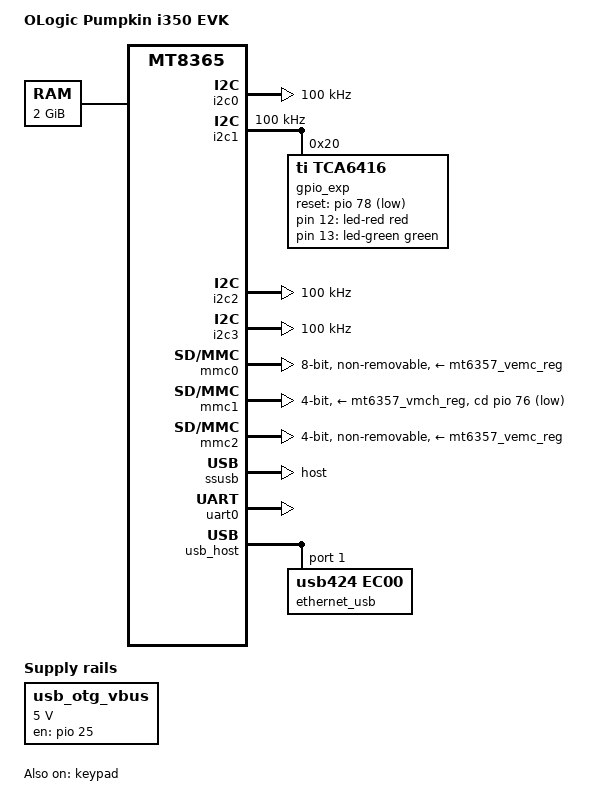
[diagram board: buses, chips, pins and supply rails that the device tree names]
// SPDX-License-Identifier: GPL-2.0
/*
 * Copyright (c) 2021 BayLibre, SAS.
 * Copyright (c) 2023 Ideas on Board Oy
 *
 * Author: Fabien Parent <fparent@baylibre.com>
 */

/dts-v1/;

#include <dt-bindings/gpio/gpio.h>
#include <dt-bindings/input/input.h>
#include <dt-bindings/leds/common.h>
#include <dt-bindings/pinctrl/mt8365-pinfunc.h>

#include "mt8365.dtsi"
#include "mt6357.dtsi"

/ {
	model = "OLogic Pumpkin i350 EVK";
	compatible = "ologic,pumpkin-i350", "mediatek,mt8365";

	aliases {
		ethernet0 = &ethernet_usb;
		mmc0 = &mmc0;
		mmc1 = &mmc1;
		serial0 = &uart0;
	};

	chosen {
		stdout-path = "serial0:921600n8";
	};

	firmware {
		optee {
			compatible = "linaro,optee-tz";
			method = "smc";
		};
	};

	leds {
		compatible = "gpio-leds";

		led-red {
			gpios = <&gpio_exp 12 GPIO_ACTIVE_HIGH>;
			color = <LED_COLOR_ID_RED>;
			function = LED_FUNCTION_HEARTBEAT;
			linux,default-trigger = "heartbeat";
		};

		led-green {
			gpios = <&gpio_exp 13 GPIO_ACTIVE_HIGH>;
			color = <LED_COLOR_ID_GREEN>;
			default-state = "off";
		};
	};

	memory@40000000 {
		device_type = "memory";
		reg = <0 0x40000000 0 0x80000000>;
	};

	reserved-memory {
		#address-cells = <2>;
		#size-cells = <2>;
		ranges;

		/* 192 KiB reserved for ARM Trusted Firmware (BL31) */
		secmon@43000000 {
			no-map;
			reg = <0 0x43000000 0 0x30000>;
		};

		/*
		 * 12 MiB reserved for OP-TEE (BL32)
		 * +-----------------------+ 0x43e0_0000
		 * |      SHMEM 2MiB       |
		 * +-----------------------+ 0x43c0_0000
		 * |        | TA_RAM  8MiB |
		 * + TZDRAM +--------------+ 0x4340_0000
		 * |        | TEE_RAM 2MiB |
		 * +-----------------------+ 0x4320_0000
		 */
		optee@43200000 {
			no-map;
			reg = <0 0x43200000 0 0x00c00000>;
		};
	};

	usb_otg_vbus: usb-otg-vbus-regulator {
		compatible = "regulator-fixed";
		regulator-name = "otg_vbus";
		regulator-min-microvolt = <5000000>;
		regulator-max-microvolt = <5000000>;
		gpio = <&pio 25 GPIO_ACTIVE_HIGH>;
		enable-active-high;
	};
};

&cpu0 {
	proc-supply = <&mt6357_vproc_reg>;
	sram-supply = <&mt6357_vsram_proc_reg>;
};

&cpu1 {
	proc-supply = <&mt6357_vproc_reg>;
	sram-supply = <&mt6357_vsram_proc_reg>;
};

&cpu2 {
	proc-supply = <&mt6357_vproc_reg>;
	sram-supply = <&mt6357_vsram_proc_reg>;
};

&cpu3 {
	proc-supply = <&mt6357_vproc_reg>;
	sram-supply = <&mt6357_vsram_proc_reg>;
};

&i2c0 {
	clock-frequency = <100000>;

	pinctrl-names = "default";
	pinctrl-0 = <&i2c0_pins>;

	status = "okay";
};

&i2c1 {
	clock-frequency = <100000>;

	pinctrl-names = "default";
	pinctrl-0 = <&i2c1_pins>;

	status = "okay";

	gpio_exp: gpio@20 {
		compatible = "ti,tca6416";
		reg = <0x20>;
		reset-gpios = <&pio 78 GPIO_ACTIVE_LOW>;
		pinctrl-names = "default";
		pinctrl-0 = <&tca6416_pins>;

		gpio-controller;
		#gpio-cells = <2>;
	};
};

&i2c2 {
	clock-frequency = <100000>;

	pinctrl-names = "default";
	pinctrl-0 = <&i2c2_pins>;

	status = "okay";
};

&i2c3 {
	clock-frequency = <100000>;

	pinctrl-names = "default";
	pinctrl-0 = <&i2c3_pins>;

	status = "okay";
};

&keypad {
	status = "okay";

	pinctrl-names = "default";
	pinctrl-0 = <&keypad_pins>;

	keypad,num-rows = <2>;
	keypad,num-columns = <1>;
	mediatek,debounce-us = <32000>;
	mediatek,double-keys;

	linux,keymap = <MATRIX_KEY(0x00, 0x00, KEY_VOLUMEDOWN)
			MATRIX_KEY(0x01, 0x00, KEY_VOLUMEUP)>;
};

/* eMMC */
&mmc0 {
	bus-width = <8>;
	max-frequency = <200000000>;

	cap-mmc-highspeed;
	cap-mmc-hw-reset;
	hs400-ds-delay = <0x12012>;
	mmc-hs200-1_8v;
	mmc-hs400-1_8v;
	no-sd;
	no-sdio;
	non-removable;

	vmmc-supply = <&mt6357_vemc_reg>;
	vqmmc-supply = <&mt6357_vio18_reg>;

	pinctrl-names = "default", "state_uhs";
	pinctrl-0 = <&mmc0_pins_default>;
	pinctrl-1 = <&mmc0_pins_uhs>;

	assigned-clocks = <&topckgen CLK_TOP_MSDC50_0_SEL>;
	assigned-clock-parents = <&topckgen CLK_TOP_MSDCPLL>;

	status = "okay";
};

/* SD card connector */
&mmc1 {
	bus-width = <4>;
	max-frequency = <200000000>;

	cap-sd-highspeed;
	cd-gpios = <&pio 76 GPIO_ACTIVE_LOW>;
	sd-uhs-sdr104;
	sd-uhs-sdr50;

	vmmc-supply = <&mt6357_vmch_reg>;
	vqmmc-supply = <&mt6357_vmc_reg>;

	pinctrl-names = "default", "state_uhs";
	pinctrl-0 = <&mmc1_pins_default>;
	pinctrl-1 = <&mmc1_pins_uhs>;

	status = "okay";
};

/* WiFi module */
&mmc2 {
	bus-width = <4>;
	max-frequency = <200000000>;

	cap-sd-highspeed;
	cap-sdio-irq;
	wakeup-source;
	hs400-ds-delay = <0x12012>;
	keep-power-in-suspend;
	non-removable;
	sd-uhs-sdr104;
	sd-uhs-sdr25;
	sd-uhs-sdr50;

	vmmc-supply = <&mt6357_vemc_reg>;
	vqmmc-supply = <&mt6357_vio18_reg>;

	pinctrl-names = "default", "state_uhs";
	pinctrl-0 = <&mmc2_pins_default>;
	pinctrl-1 = <&mmc2_pins_uhs>;

	assigned-clocks = <&topckgen CLK_TOP_MSDC50_2_SEL>;
	assigned-clock-parents = <&topckgen CLK_TOP_MSDCPLL>;

	status = "okay";
};

&mt6357_pmic {
	interrupt-parent = <&pio>;
	interrupts = <145 IRQ_TYPE_LEVEL_HIGH>;
	interrupt-controller;
	#interrupt-cells = <2>;
};

&pio {
	i2c0_pins: i2c0-pins {
		pins {
			pinmux = <MT8365_PIN_57_SDA0__FUNC_SDA0_0>,
				 <MT8365_PIN_58_SCL0__FUNC_SCL0_0>;
			mediatek,pull-up-adv = <3>;
			mediatek,drive-strength-adv = <00>;
			bias-pull-up;
		};
	};


	i2c1_pins: i2c1-pins {
		pins {
			pinmux = <MT8365_PIN_59_SDA1__FUNC_SDA1_0>,
				 <MT8365_PIN_60_SCL1__FUNC_SCL1_0>;
			mediatek,pull-up-adv = <3>;
			mediatek,drive-strength-adv = <00>;
			bias-pull-up;
		};
	};

	i2c2_pins: i2c2-pins {
		pins {
			pinmux = <MT8365_PIN_61_SDA2__FUNC_SDA2_0>,
				 <MT8365_PIN_62_SCL2__FUNC_SCL2_0>;
			mediatek,pull-up-adv = <3>;
			mediatek,drive-strength-adv = <00>;
			bias-pull-up;
		};
	};

	i2c3_pins: i2c3-pins {
		pins {
			pinmux = <MT8365_PIN_63_SDA3__FUNC_SDA3_0>,
				 <MT8365_PIN_64_SCL3__FUNC_SCL3_0>;
			mediatek,pull-up-adv = <3>;
			mediatek,drive-strength-adv = <00>;
			bias-pull-up;
		};
	};

	keypad_pins: keypad-pins {
		pins {
			pinmux = <MT8365_PIN_22_KPROW0__FUNC_KPROW0>,
				 <MT8365_PIN_23_KPROW1__FUNC_KPROW1>,
				 <MT8365_PIN_24_KPCOL0__FUNC_KPCOL0>;
		};
	};

	mmc0_pins_default: mmc0-default-pins {
		clk-pins {
			pinmux = <MT8365_PIN_99_MSDC0_CLK__FUNC_MSDC0_CLK>;
			bias-pull-down;
		};

		cmd-dat-pins {
			pinmux = <MT8365_PIN_103_MSDC0_DAT0__FUNC_MSDC0_DAT0>,
				 <MT8365_PIN_102_MSDC0_DAT1__FUNC_MSDC0_DAT1>,
				 <MT8365_PIN_101_MSDC0_DAT2__FUNC_MSDC0_DAT2>,
				 <MT8365_PIN_100_MSDC0_DAT3__FUNC_MSDC0_DAT3>,
				 <MT8365_PIN_96_MSDC0_DAT4__FUNC_MSDC0_DAT4>,
				 <MT8365_PIN_95_MSDC0_DAT5__FUNC_MSDC0_DAT5>,
				 <MT8365_PIN_94_MSDC0_DAT6__FUNC_MSDC0_DAT6>,
				 <MT8365_PIN_93_MSDC0_DAT7__FUNC_MSDC0_DAT7>,
				 <MT8365_PIN_98_MSDC0_CMD__FUNC_MSDC0_CMD>;
			input-enable;
			bias-pull-up;
		};

		rst-pins {
			pinmux = <MT8365_PIN_97_MSDC0_RSTB__FUNC_MSDC0_RSTB>;
			bias-pull-up;
		};
	};

	mmc0_pins_uhs: mmc0-uhs-pins{
		clk-pins {
			pinmux = <MT8365_PIN_99_MSDC0_CLK__FUNC_MSDC0_CLK>;
			drive-strength = <MTK_DRIVE_10mA>;
			bias-pull-down = <MTK_PUPD_SET_R1R0_10>;
		};

		cmd-dat-pins {
			pinmux = <MT8365_PIN_103_MSDC0_DAT0__FUNC_MSDC0_DAT0>,
				 <MT8365_PIN_102_MSDC0_DAT1__FUNC_MSDC0_DAT1>,
				 <MT8365_PIN_101_MSDC0_DAT2__FUNC_MSDC0_DAT2>,
				 <MT8365_PIN_100_MSDC0_DAT3__FUNC_MSDC0_DAT3>,
				 <MT8365_PIN_96_MSDC0_DAT4__FUNC_MSDC0_DAT4>,
				 <MT8365_PIN_95_MSDC0_DAT5__FUNC_MSDC0_DAT5>,
				 <MT8365_PIN_94_MSDC0_DAT6__FUNC_MSDC0_DAT6>,
				 <MT8365_PIN_93_MSDC0_DAT7__FUNC_MSDC0_DAT7>,
				 <MT8365_PIN_98_MSDC0_CMD__FUNC_MSDC0_CMD>;
			input-enable;
			drive-strength = <MTK_DRIVE_10mA>;
			bias-pull-up = <MTK_PUPD_SET_R1R0_01>;
		};

		ds-pins {
			pinmux = <MT8365_PIN_104_MSDC0_DSL__FUNC_MSDC0_DSL>;
			drive-strength = <MTK_DRIVE_10mA>;
			bias-pull-down = <MTK_PUPD_SET_R1R0_10>;
		};

		rst-pins {
			pinmux = <MT8365_PIN_97_MSDC0_RSTB__FUNC_MSDC0_RSTB>;
			drive-strength = <MTK_DRIVE_10mA>;
			bias-pull-up;
		};
	};

	mmc1_pins_default: mmc1-default-pins {
		cd-pins {
			pinmux = <MT8365_PIN_76_CMDAT8__FUNC_GPIO76>;
			bias-pull-up;
		};

		clk-pins {
			pinmux = <MT8365_PIN_88_MSDC1_CLK__FUNC_MSDC1_CLK>;
			bias-pull-down = <MTK_PUPD_SET_R1R0_10>;
		};

		cmd-dat-pins {
			pinmux = <MT8365_PIN_89_MSDC1_DAT0__FUNC_MSDC1_DAT0>,
				 <MT8365_PIN_90_MSDC1_DAT1__FUNC_MSDC1_DAT1>,
				 <MT8365_PIN_91_MSDC1_DAT2__FUNC_MSDC1_DAT2>,
				 <MT8365_PIN_92_MSDC1_DAT3__FUNC_MSDC1_DAT3>,
				 <MT8365_PIN_87_MSDC1_CMD__FUNC_MSDC1_CMD>;
			input-enable;
			bias-pull-up = <MTK_PUPD_SET_R1R0_01>;
		};
	};

	mmc1_pins_uhs: mmc1-uhs-pins {
		cd-pins {
			pinmux = <MT8365_PIN_76_CMDAT8__FUNC_GPIO76>;
			bias-pull-up;
		};

		clk-pins {
			pinmux = <MT8365_PIN_88_MSDC1_CLK__FUNC_MSDC1_CLK>;
			drive-strength = <MTK_DRIVE_8mA>;
			bias-pull-down = <MTK_PUPD_SET_R1R0_10>;
		};

		cmd-dat-pins {
			pinmux = <MT8365_PIN_89_MSDC1_DAT0__FUNC_MSDC1_DAT0>,
				 <MT8365_PIN_90_MSDC1_DAT1__FUNC_MSDC1_DAT1>,
				 <MT8365_PIN_91_MSDC1_DAT2__FUNC_MSDC1_DAT2>,
				 <MT8365_PIN_92_MSDC1_DAT3__FUNC_MSDC1_DAT3>,
				 <MT8365_PIN_87_MSDC1_CMD__FUNC_MSDC1_CMD>;
			input-enable;
			drive-strength = <MTK_DRIVE_6mA>;
			bias-pull-up = <MTK_PUPD_SET_R1R0_01>;
		};
	};

	mmc2_pins_default: mmc2-default-pins {
		clk-pins {
			pinmux = <MT8365_PIN_81_MSDC2_CLK__FUNC_MSDC2_CLK>;
			drive-strength = <MTK_DRIVE_4mA>;
			bias-pull-down = <MTK_PUPD_SET_R1R0_10>;
		};

		cmd-dat-pins {
			pinmux = <MT8365_PIN_82_MSDC2_DAT0__FUNC_MSDC2_DAT0>,
				 <MT8365_PIN_83_MSDC2_DAT1__FUNC_MSDC2_DAT1>,
				 <MT8365_PIN_84_MSDC2_DAT2__FUNC_MSDC2_DAT2>,
				 <MT8365_PIN_85_MSDC2_DAT3__FUNC_MSDC2_DAT3>,
				 <MT8365_PIN_80_MSDC2_CMD__FUNC_MSDC2_CMD>;
			input-enable;
			drive-strength = <MTK_DRIVE_4mA>;
			bias-pull-up = <MTK_PUPD_SET_R1R0_01>;
		};

		sysrstb-en-pins {
			pinmux = <MT8365_PIN_74_CMDAT6__FUNC_GPIO74>;
			output-low;
		};
	};

	mmc2_pins_uhs: mmc2-uhs-pins {
		clk-pins {
			pinmux = <MT8365_PIN_81_MSDC2_CLK__FUNC_MSDC2_CLK>;
			drive-strength = <MTK_DRIVE_8mA>;
			bias-pull-down = <MTK_PUPD_SET_R1R0_10>;
		};

		cmd-dat-pins {
			pinmux = <MT8365_PIN_82_MSDC2_DAT0__FUNC_MSDC2_DAT0>,
				 <MT8365_PIN_83_MSDC2_DAT1__FUNC_MSDC2_DAT1>,
				 <MT8365_PIN_84_MSDC2_DAT2__FUNC_MSDC2_DAT2>,
				 <MT8365_PIN_85_MSDC2_DAT3__FUNC_MSDC2_DAT3>,
				 <MT8365_PIN_80_MSDC2_CMD__FUNC_MSDC2_CMD>;
			input-enable;
			drive-strength = <MTK_DRIVE_8mA>;
			bias-pull-up = <MTK_PUPD_SET_R1R0_01>;
		};

		ds-pins {
			pinmux = <MT8365_PIN_86_MSDC2_DSL__FUNC_MSDC2_DSL>;
			drive-strength = <MTK_DRIVE_8mA>;
			bias-pull-down = <MTK_PUPD_SET_R1R0_10>;
		};

		sysrstb-en-pins {
			pinmux = <MT8365_PIN_126_DMIC3_CLK__FUNC_GPIO126>;
			output-high;
		};
	};

	tca6416_pins: tca6416-pins {
		rst-n-pins {
			pinmux = <MT8365_PIN_78_CMHSYNC__FUNC_GPIO78>;
			output-high;
		};

		int-n-pins {
			pinmux = <MT8365_PIN_79_CMVSYNC__FUNC_GPIO79>;
			input-enable;
			bias-pull-up;
		};
	};

	usb_pins: usb-pins {
		hub-rst-pins {
			pinmux = <MT8365_PIN_70_CMDAT2__FUNC_GPIO70>;
			output-low;
		};

		id-pins {
			pinmux = <MT8365_PIN_39_URXD2__FUNC_GPIO39>;
			input-enable;
			bias-pull-up;
		};

		vbus-pins {
			pinmux = <MT8365_PIN_25_KPCOL1__FUNC_USB_DRVVBUS>;
		};
	};
};

&ssusb {
	/* Host mode only for now, TUSB322 support is missing. */
	dr_mode = "host";
	maximum-speed = "high-speed";
	vusb33-supply = <&mt6357_vusb33_reg>;

	pinctrl-0 = <&usb_pins>;
	pinctrl-names = "default";

	status = "okay";
};

&uart0 {
	status = "okay";
};

&usb_host {
	#address-cells = <1>;
	#size-cells = <0>;

	vusb33-supply = <&mt6357_vusb33_reg>;

	status = "okay";

	hub@2 {
		reg = <2>;

		#address-cells = <1>;
		#size-cells = <0>;

		ethernet_usb: ethernet@1 {
			compatible = "usb424,ec00";
			reg = <1>;
		};
	};
};
